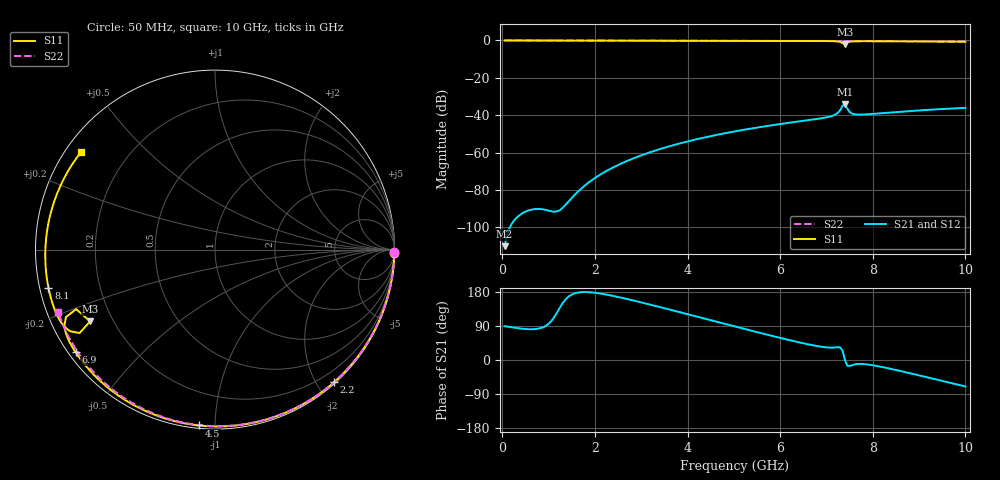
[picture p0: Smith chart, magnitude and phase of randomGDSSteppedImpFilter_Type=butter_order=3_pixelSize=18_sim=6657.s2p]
! freq	dB(S11)	phase(S11)	dB(S12)	phase(S12)
!  dB(S21)	phase(S21)	dB(S22)	phase(S22)
!S-par simulation data
#  GHz  S  DB  R 50
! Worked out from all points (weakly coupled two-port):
!   200 points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, 50 MHz to 10 GHz, reference 50 ohm
!   highest |S21| = -34.19 dB at 7.4 GHz (marker M1); lowest = -110.1 dB at 50 MHz (marker M2)
!   lowest |S11| = -1.9 dB at 7.4 GHz (marker M3), VSWR 9.13, Z = 5.86 - j13.2 ohm
!   |S11| at or under -10 dB: nowhere
!   |S22| runs from -0.5 to 0.0 dB; largest |S21 - S12| = 0
!   S11 on the Smith chart (normalised r, x): 50 MHz: open; 2.2 GHz: 0.02, -2.24; 4.5 GHz: 0.01, -0.91; 6.9 GHz: 0.02, -0.33; 8.1 GHz: 0.02, -0.11; 10 GHz: 0.04, +0.33
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0.05  -0.00 -1.1  -110.08 89.1  -110.08 89.1  -0.00 -0.9
0.85  -0.02 -18.9  -90.30 85.1  -90.30 85.1  -0.02 -15.4
1.65  -0.05 -36.3  -80.48 178.2  -80.48 178.2  -0.04 -29.7
1.75  -0.05 -38.5  -78.27 179.3  -78.27 179.3  -0.04 -31.5
2.2  -0.06 -48.1  -70.52 173.7  -70.52 173.7  -0.05 -39.4
2.75  -0.08 -59.7  -63.90 159.4  -63.90 159.4  -0.06 -48.8
3.4  -0.10 -73.1  -58.15 139.8  -58.15 139.8  -0.08 -59.7
4.5  -0.14 -95.2  -51.20 105.0  -51.20 105.0  -0.11 -77.5
5.05  -0.17 -106.1  -48.53 87.7  -48.53 87.7  -0.13 -86.1
5.9  -0.22 -122.9  -45.09 61.4  -45.09 61.4  -0.17 -99.0
6.7  -0.29 -139.3  -42.33 38.9  -42.33 38.9  -0.22 -110.8
6.9  -0.31 -143.7  -41.59 34.7  -41.59 34.7  -0.23 -113.7
7.2  -0.45 -151.6  -39.54 33.2  -39.54 33.2  -0.25 -118.0
7.35  -1.50 -156.8  -34.88 23.9  -34.88 23.9  -0.26 -120.2
7.4  -1.91 -150.1  -34.19 -0.6  -34.19 -0.6  -0.26 -120.9
7.45  -1.05 -148.4  -36.48 -15.0  -36.48 -15.0  -0.27 -121.6
7.5  -0.66 -150.6  -38.25 -15.7  -38.25 -15.7  -0.27 -122.3
7.6  -0.46 -154.4  -39.50 -11.9  -39.50 -11.9  -0.28 -123.8
8.1  -0.43 -167.1  -39.11 -16.1  -39.11 -16.1  -0.32 -130.9
8.35  -0.45 -172.9  -38.62 -22.3  -38.62 -22.3  -0.34 -134.5
9.2  -0.57 166.1  -37.13 -46.4  -37.13 -46.4  -0.43 -146.7
10  -0.69 143.8  -36.08 -69.9  -36.08 -69.9  -0.53 -158.3
